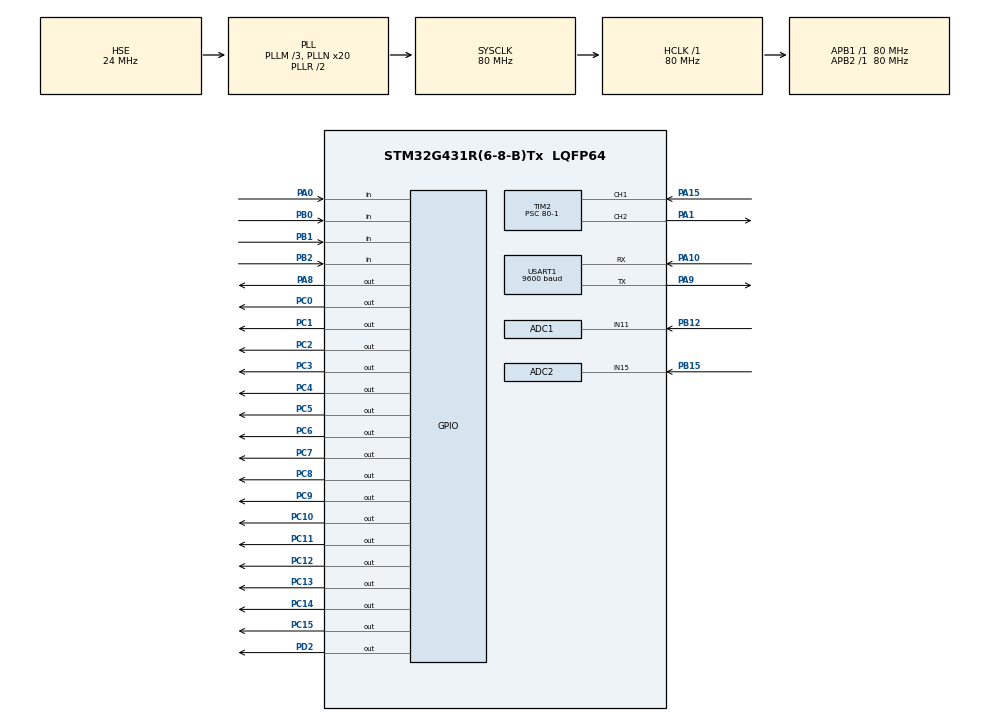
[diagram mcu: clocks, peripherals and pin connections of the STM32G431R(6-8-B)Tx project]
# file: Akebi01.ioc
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ADC1.Channel-1\#ChannelRegularConversion=ADC_CHANNEL_11
ADC1.ClockPrescaler=ADC_CLOCK_SYNC_PCLK_DIV4
ADC1.ContinuousConvMode=ENABLE
ADC1.DMAContinuousRequests=ENABLE
ADC1.NbrOfConversionFlag=1
ADC1.OffsetNumber-1\#ChannelRegularConversion=ADC_OFFSET_NONE
ADC1.Rank-1\#ChannelRegularConversion=1
ADC1.SamplingTime-1\#ChannelRegularConversion=ADC_SAMPLETIME_2CYCLES_5
ADC1.master=1
ADC2.Channel-0\#ChannelRegularConversion=ADC_CHANNEL_15
ADC2.ClockPrescaler=ADC_CLOCK_SYNC_PCLK_DIV4
ADC2.ContinuousConvMode=ENABLE
ADC2.DMAContinuousRequests=ENABLE
ADC2.NbrOfConversionFlag=1
ADC2.OffsetNumber-0\#ChannelRegularConversion=ADC_OFFSET_NONE
ADC2.Rank-0\#ChannelRegularConversion=1
ADC2.SamplingTime-0\#ChannelRegularConversion=ADC_SAMPLETIME_2CYCLES_5
Dma.ADC1.1.Direction=DMA_PERIPH_TO_MEMORY
Dma.ADC1.1.EventEnable=DISABLE
Dma.ADC1.1.Instance=DMA1_Channel2
Dma.ADC1.1.MemDataAlignment=DMA_MDATAALIGN_WORD
Dma.ADC1.1.MemInc=DMA_MINC_ENABLE
Dma.ADC1.1.Mode=DMA_CIRCULAR
Dma.ADC1.1.PeriphDataAlignment=DMA_PDATAALIGN_WORD
Dma.ADC1.1.PeriphInc=DMA_PINC_DISABLE
Dma.ADC1.1.Polarity=HAL_DMAMUX_REQ_GEN_RISING
Dma.ADC1.1.Priority=DMA_PRIORITY_MEDIUM
Dma.ADC1.1.RequestNumber=1
Dma.ADC1.1.SignalID=NONE
Dma.ADC1.1.SyncEnable=DISABLE
Dma.ADC1.1.SyncPolarity=HAL_DMAMUX_SYNC_NO_EVENT
Dma.ADC1.1.SyncRequestNumber=1
Dma.ADC1.1.SyncSignalID=NONE
Dma.ADC2.2.Direction=DMA_PERIPH_TO_MEMORY
Dma.ADC2.2.EventEnable=DISABLE
Dma.ADC2.2.Instance=DMA1_Channel3
Dma.ADC2.2.MemDataAlignment=DMA_MDATAALIGN_WORD
Dma.ADC2.2.MemInc=DMA_MINC_ENABLE
Dma.ADC2.2.Mode=DMA_CIRCULAR
Dma.ADC2.2.PeriphDataAlignment=DMA_PDATAALIGN_WORD
Dma.ADC2.2.PeriphInc=DMA_PINC_DISABLE
Dma.ADC2.2.Polarity=HAL_DMAMUX_REQ_GEN_RISING
Dma.ADC2.2.Priority=DMA_PRIORITY_MEDIUM
Dma.ADC2.2.RequestNumber=1
Dma.ADC2.2.SignalID=NONE
Dma.ADC2.2.SyncEnable=DISABLE
Dma.ADC2.2.SyncPolarity=HAL_DMAMUX_SYNC_NO_EVENT
Dma.ADC2.2.SyncRequestNumber=1
Dma.ADC2.2.SyncSignalID=NONE
Dma.Request0=USART1_RX
Dma.Request1=ADC1
Dma.Request2=ADC2
Dma.Request3=TIM2_CH1
Dma.TIM2_CH1.3.Direction=DMA_PERIPH_TO_MEMORY
Dma.TIM2_CH1.3.EventEnable=DISABLE
Dma.TIM2_CH1.3.Instance=DMA1_Channel4
Dma.TIM2_CH1.3.MemDataAlignment=DMA_MDATAALIGN_WORD
Dma.TIM2_CH1.3.MemInc=DMA_MINC_ENABLE
Dma.TIM2_CH1.3.Mode=DMA_CIRCULAR
Dma.TIM2_CH1.3.PeriphDataAlignment=DMA_PDATAALIGN_WORD
Dma.TIM2_CH1.3.PeriphInc=DMA_PINC_DISABLE
Dma.TIM2_CH1.3.Polarity=HAL_DMAMUX_REQ_GEN_RISING
Dma.TIM2_CH1.3.Priority=DMA_PRIORITY_LOW
Dma.TIM2_CH1.3.RequestNumber=1
Dma.TIM2_CH1.3.SignalID=NONE
Dma.TIM2_CH1.3.SyncEnable=DISABLE
Dma.TIM2_CH1.3.SyncPolarity=HAL_DMAMUX_SYNC_NO_EVENT
Dma.TIM2_CH1.3.SyncRequestNumber=1
Dma.TIM2_CH1.3.SyncSignalID=NONE
Dma.USART1_RX.0.Direction=DMA_PERIPH_TO_MEMORY
Dma.USART1_RX.0.EventEnable=DISABLE
Dma.USART1_RX.0.Instance=DMA1_Channel1
Dma.USART1_RX.0.MemDataAlignment=DMA_MDATAALIGN_BYTE
Dma.USART1_RX.0.MemInc=DMA_MINC_ENABLE
Dma.USART1_RX.0.Mode=DMA_NORMAL
Dma.USART1_RX.0.PeriphDataAlignment=DMA_PDATAALIGN_BYTE
Dma.USART1_RX.0.PeriphInc=DMA_PINC_DISABLE
Dma.USART1_RX.0.Polarity=HAL_DMAMUX_REQ_GEN_RISING
Dma.USART1_RX.0.Priority=DMA_PRIORITY_HIGH
Dma.USART1_RX.0.RequestNumber=1
Dma.USART1_RX.0.SignalID=NONE
Dma.USART1_RX.0.SyncEnable=DISABLE
Dma.USART1_RX.0.SyncPolarity=HAL_DMAMUX_SYNC_NO_EVENT
Dma.USART1_RX.0.SyncRequestNumber=1
Dma.USART1_RX.0.SyncSignalID=NONE
Mcu.Family=STM32G4
Mcu.Name=STM32G431R(6-8-B)Tx
Mcu.Package=LQFP64
NVIC.ADC1_2_IRQn=true\:2\:0\:true\:false\:true\:true\:true\:true
NVIC.DMA1_Channel1_IRQn=true\:0\:0\:false\:false\:true\:false\:true\:true
NVIC.DMA1_Channel2_IRQn=true\:0\:0\:false\:false\:true\:false\:true\:true
NVIC.DMA1_Channel3_IRQn=true\:0\:0\:false\:false\:true\:false\:true\:true
NVIC.DMA1_Channel4_IRQn=true\:0\:0\:false\:false\:true\:false\:true\:true
NVIC.PriorityGroup=NVIC_PRIORITYGROUP_4
NVIC.USART1_IRQn=true\:0\:0\:false\:false\:true\:true\:true\:true
PA0.Signal=GPIO_Input
PA1.Signal=S_TIM2_CH2
PA10.Mode=Asynchronous
PA10.Signal=USART1_RX
PA13.Mode=Serial_Wire
PA13.Signal=SYS_JTMS-SWDIO
PA14.Mode=Serial_Wire
PA14.Signal=SYS_JTCK-SWCLK
PA15.Signal=S_TIM2_CH1
PA8.Signal=GPIO_Output
PA9.Mode=Asynchronous
PA9.Signal=USART1_TX
PB0.Signal=GPIO_Input
PB1.Signal=GPIO_Input
PB12.Mode=IN11-Single-Ended
PB12.Signal=ADC1_IN11
PB15.Mode=IN15-Single-Ended
PB15.Signal=ADC2_IN15
PB2.Signal=GPIO_Input
PC0.Signal=GPIO_Output
PC1.Signal=GPIO_Output
PC10.PinState=GPIO_PIN_SET
PC10.Signal=GPIO_Output
PC11.PinState=GPIO_PIN_SET
PC11.Signal=GPIO_Output
PC12.PinState=GPIO_PIN_SET
PC12.Signal=GPIO_Output
PC13.PinState=GPIO_PIN_SET
PC13.Signal=GPIO_Output
PC14-OSC32_IN.PinState=GPIO_PIN_SET
PC14-OSC32_IN.Signal=GPIO_Output
PC15-OSC32_OUT.PinState=GPIO_PIN_SET
PC15-OSC32_OUT.Signal=GPIO_Output
PC2.Signal=GPIO_Output
PC3.Signal=GPIO_Output
PC4.Signal=GPIO_Output
PC5.Signal=GPIO_Output
PC6.Signal=GPIO_Output
PC7.Signal=GPIO_Output
PC8.PinState=GPIO_PIN_SET
PC8.Signal=GPIO_Output
PC9.PinState=GPIO_PIN_SET
PC9.Signal=GPIO_Output
PD2.Signal=GPIO_Output
PF0-OSC_IN.Mode=HSE-External-Oscillator
PF0-OSC_IN.Signal=RCC_OSC_IN
PF1-OSC_OUT.Mode=HSE-External-Oscillator
PF1-OSC_OUT.Signal=RCC_OSC_OUT
ProjectManager.HeapSize=0x200
ProjectManager.StackSize=0x400
ProjectManager.TargetToolchain=MDK-ARM V5.32
RCC.ADC12Freq_Value=80000000
RCC.AHBFreq_Value=80000000
RCC.APB1Freq_Value=80000000
RCC.APB1TimFreq_Value=80000000
RCC.APB2Freq_Value=80000000
RCC.APB2TimFreq_Value=80000000
RCC.CortexFreq_Value=80000000
RCC.EXTERNAL_CLOCK_VALUE=12288000
RCC.HCLKFreq_Value=80000000
RCC.HSE_VALUE=24000000
RCC.HSI48_VALUE=48000000
RCC.HSI_VALUE=16000000
RCC.LSE_VALUE=32768
RCC.PLLM=RCC_PLLM_DIV3
RCC.PLLN=20
RCC.PLLSourceVirtual=RCC_PLLSOURCE_HSE
RCC.SYSCLKFreq_VALUE=80000000
RCC.SYSCLKSource=RCC_SYSCLKSOURCE_PLLCLK
RCC.USBFreq_Value=80000000
RCC.VCOOutputFreq_Value=160000000
SH.S_TIM2_CH1.0=TIM2_CH1,TriggerSource_TI1FP1
SH.S_TIM2_CH1.1=TIM2_CH1,Input_Capture1_from_TI1
SH.S_TIM2_CH2.0=TIM2_CH2,PWM Generation2 CH2
TIM2.Channel-Input_Capture1_from_TI1=TIM_CHANNEL_1
TIM2.Channel-PWM\ Generation2\ CH2=TIM_CHANNEL_2
TIM2.PeriodNoDither=1000-1
TIM2.Prescaler=80-1
TIM2.PulseNoDither_2=50
TIM3.Prescaler=80-1
USART1.BaudRate=9600
USART1.VirtualMode-Asynchronous=VM_ASYNC
VP_SYS_VS_DBSignals.Mode=DisableDeadBatterySignals
VP_TIM2_VS_ClockSourceINT.Mode=Internal
VP_TIM2_VS_ControllerModeReset.Mode=Reset Mode
VP_TIM3_VS_ClockSourceINT.Mode=Internal
board=custom

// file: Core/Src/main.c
/* USER CODE BEGIN Header */
/**
 ******************************************************************************
 * @file           : main.c
 * @brief          : Main program body
 ******************************************************************************
 * @attention
 *
 * Copyright (c) 2024 STMicroelectronics.
 * All rights reserved.
 *
 * This software is licensed under terms that can be found in the LICENSE file
 * in the root directory of this software component.
 * If no LICENSE file comes with this software, it is provided AS-IS.
 *
 ******************************************************************************
 */
/* USER CODE END Header */
#include "main.h"
#include "adc.h"
#include "dma.h"
#include "tim.h"
#include "usart.h"
#include "gpio.h"

/* USER CODE BEGIN Includes */
#include "bsp_system.h"

/* USER CODE END Includes */

void SystemClock_Config(void);

int main(void)
{

  /* MCU Configuration--------------------------------------------------------*/

  /* Reset of all peripherals, Initializes the Flash interface and the Systick. */
  HAL_Init();

  /* Configure the system clock */
  SystemClock_Config();

  /* Initialize all configured peripherals */
  MX_GPIO_Init();
  MX_DMA_Init();
  MX_USART1_UART_Init();
  MX_ADC1_Init();
  MX_ADC2_Init();
  MX_TIM2_Init();
  MX_TIM3_Init();
  /* USER CODE BEGIN 2 */
  akebi_init();
  HAL_ADCEx_Calibration_Start(&hadc1, ADC_SINGLE_ENDED);
  HAL_ADCEx_Calibration_Start(&hadc2, ADC_SINGLE_ENDED);
  key_init(); // �ǵö԰������г�ʼ��

  HAL_TIM_IC_Start_DMA(&htim2, TIM_CHANNEL_1, tim_ic_buffer, 64);

  HAL_TIM_PWM_Start(&htim2, TIM_CHANNEL_2);

  HAL_ADC_Start_DMA(&hadc1, (uint32_t *)&dma_buff[0][0], 30);
  HAL_ADC_Start_DMA(&hadc2, (uint32_t *)&dma_buff[1][0], 30);

  LCD_Init();
  LCD_Clear(Black);
  LCD_SetTextColor(White);
  LCD_SetBackColor(Black);

  scheduler_init();

  ringbuffer_init(&usart_rb);

  /* USER CODE END 2 */

  /* Infinite loop */
  while (1)
  {

    /* USER CODE BEGIN 3 */
    scheduler_run();
  }
  /* USER CODE END 3 */
}

void SystemClock_Config(void)
{
  RCC_OscInitTypeDef RCC_OscInitStruct = {0};
  RCC_ClkInitTypeDef RCC_ClkInitStruct = {0};

  /** Configure the main internal regulator output voltage
   */
  HAL_PWREx_ControlVoltageScaling(PWR_REGULATOR_VOLTAGE_SCALE1);

  /** Initializes the RCC Oscillators according to the specified parameters
   * in the RCC_OscInitTypeDef structure.
   */
  RCC_OscInitStruct.OscillatorType = RCC_OSCILLATORTYPE_HSE;
  RCC_OscInitStruct.HSEState = RCC_HSE_ON;
  RCC_OscInitStruct.PLL.PLLState = RCC_PLL_ON;
  RCC_OscInitStruct.PLL.PLLSource = RCC_PLLSOURCE_HSE;
  RCC_OscInitStruct.PLL.PLLM = RCC_PLLM_DIV3;
  RCC_OscInitStruct.PLL.PLLN = 20;
  RCC_OscInitStruct.PLL.PLLP = RCC_PLLP_DIV2;
  RCC_OscInitStruct.PLL.PLLQ = RCC_PLLQ_DIV2;
  RCC_OscInitStruct.PLL.PLLR = RCC_PLLR_DIV2;
  if (HAL_RCC_OscConfig(&RCC_OscInitStruct) != HAL_OK)
  {
    Error_Handler();
  }

  /** Initializes the CPU, AHB and APB buses clocks
   */
  RCC_ClkInitStruct.ClockType = RCC_CLOCKTYPE_HCLK | RCC_CLOCKTYPE_SYSCLK | RCC_CLOCKTYPE_PCLK1 | RCC_CLOCKTYPE_PCLK2;
  RCC_ClkInitStruct.SYSCLKSource = RCC_SYSCLKSOURCE_PLLCLK;
  RCC_ClkInitStruct.AHBCLKDivider = RCC_SYSCLK_DIV1;
  RCC_ClkInitStruct.APB1CLKDivider = RCC_HCLK_DIV1;
  RCC_ClkInitStruct.APB2CLKDivider = RCC_HCLK_DIV1;

  if (HAL_RCC_ClockConfig(&RCC_ClkInitStruct, FLASH_LATENCY_2) != HAL_OK)
  {
    Error_Handler();
  }
}

void Error_Handler(void)
{
  __disable_irq();
  while (1)
  {
  }
}
